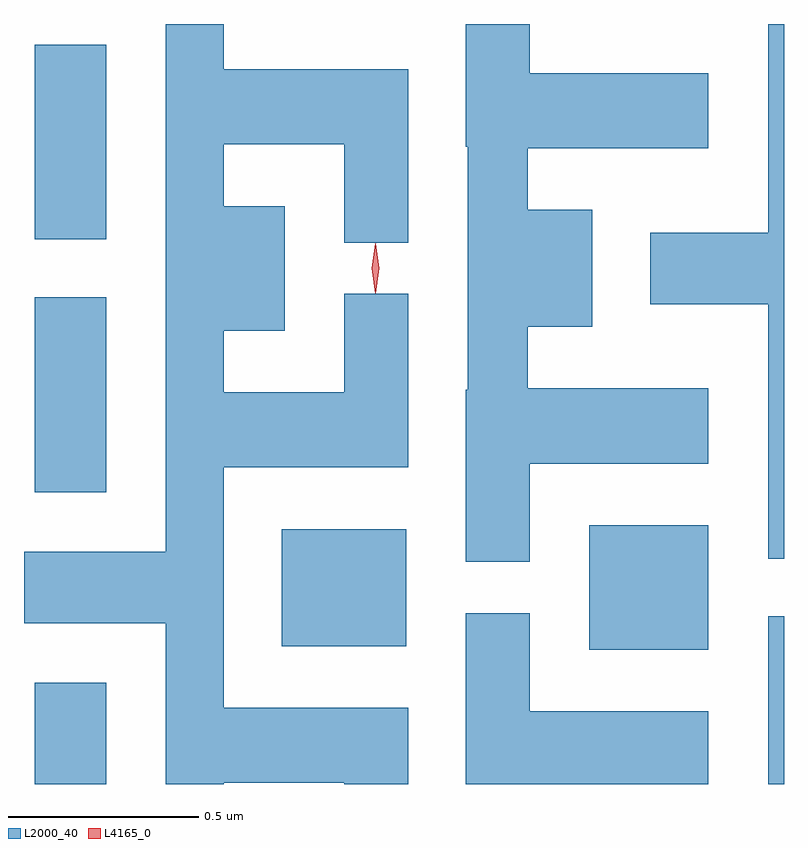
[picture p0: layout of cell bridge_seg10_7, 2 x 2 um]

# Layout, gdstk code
import gdstk
lib = gdstk.Library(unit=1e-6, precision=1e-09)
def R(c, l, rs):  # rectangles x0, y0, x1, y1
    for r in rs: c.add(gdstk.rectangle(r[:2], r[2:], *l))
def P(c, l, *ps):  # polygons
    for p in ps: c.add(gdstk.Polygon(p, *l))
L2000_40 = (2000, 40)
L4165_0 = (4165, 0)

bridge_seg10_7 = lib.new_cell('bridge_seg10_7')
R(bridge_seg10_7, L2000_40, [(1911.896,2164.453,1912.084,2164.719), (1913.826,2164.453,1913.868,2164.894), (1913.356,2164.806,1913.669,2165.134), (1912.546,2164.816,1912.874,2165.124), (1911.896,2165.221,1912.084,2165.734), (1911.896,2165.886,1912.084,2166.399)])
P(bridge_seg10_7, L2000_40, [(1912.394,2164.456),(1912.711,2164.456),(1912.711,2164.453),(1912.879,2164.453),(1912.879,2164.654),(1912.394,2164.654),(1912.394,2165.286),(1912.879,2165.286),(1912.879,2165.743),(1912.711,2165.743),(1912.711,2165.484),(1912.394,2165.484),(1912.394,2165.646),(1912.554,2165.646),(1912.554,2165.974),(1912.394,2165.974),(1912.394,2166.136),(1912.711,2166.136),(1912.711,2165.878),(1912.879,2165.878),(1912.879,2166.334),(1912.394,2166.334),(1912.394,2166.453),(1912.241,2166.453),(1912.241,2165.064),(1911.868,2165.064),(1911.868,2164.876),(1912.241,2164.876),(1912.241,2164.453),(1912.394,2164.453)],
  [(1913.199,2165.296),(1913.669,2165.296),(1913.669,2165.494),(1913.194,2165.494),(1913.194,2165.656),(1913.364,2165.656),(1913.364,2165.964),(1913.194,2165.964),(1913.194,2166.126),(1913.669,2166.126),(1913.669,2166.324),(1913.199,2166.324),(1913.199,2166.453),(1913.031,2166.453),(1913.031,2166.13),(1913.036,2166.13),(1913.036,2165.49),(1913.031,2165.49),(1913.031,2165.038),(1913.199,2165.038)],
  [(1913.868,2166.453),(1913.826,2166.453),(1913.826,2165.904),(1913.516,2165.904),(1913.516,2165.716),(1913.826,2165.716),(1913.826,2165.046),(1913.868,2165.046)],
  [(1913.669,2164.644),(1913.199,2164.644),(1913.199,2164.903),(1913.031,2164.903),(1913.031,2164.453),(1913.669,2164.453)])
P(bridge_seg10_7, L4165_0, [(1912.793,2165.744),(1912.792,2165.745),(1912.783,2165.81),(1912.792,2165.875),(1912.793,2165.876),(1912.793,2165.875),(1912.803,2165.81),(1912.793,2165.745)])

lib.write_gds('bridge_seg10_7.gds')
